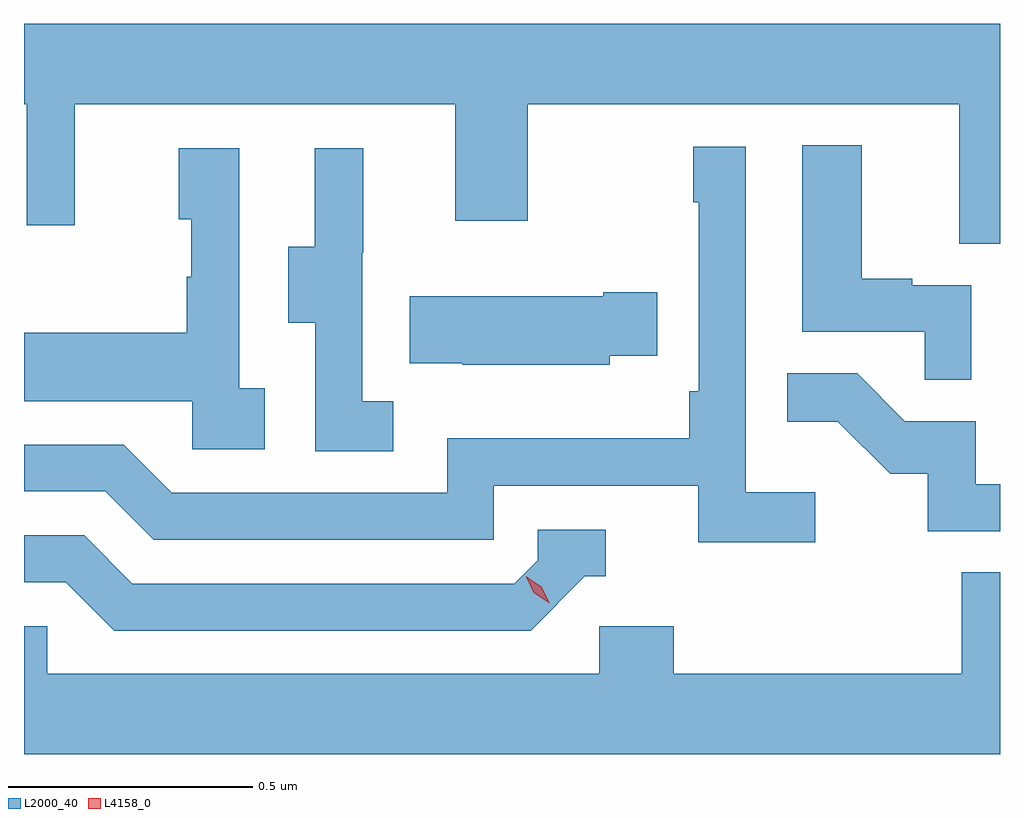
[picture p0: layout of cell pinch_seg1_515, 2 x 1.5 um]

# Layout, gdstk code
import gdstk
lib = gdstk.Library(unit=1e-6, precision=1e-09)
def P(c, l, *ps):  # polygons
    for p in ps: c.add(gdstk.Polygon(p, *l))
L2000_40 = (2000, 40)
L4158_0 = (4158, 0)

pinch_seg1_515 = lib.new_cell('pinch_seg1_515')
P(pinch_seg1_515, L2000_40, [(1134.131,534.58),(1132.131,534.58),(1132.131,534.416),(1132.137,534.416),(1132.137,534.168),(1132.235,534.168),(1132.235,534.416),(1133.015,534.416),(1133.015,534.177),(1133.163,534.177),(1133.163,534.416),(1134.047,534.416),(1134.047,534.13),(1134.131,534.13)],
  [(1134.072,534.045),(1133.951,534.045),(1133.951,534.058),(1133.848,534.058),(1133.848,534.331),(1133.726,534.331),(1133.726,533.949),(1133.977,533.949),(1133.977,533.851),(1134.072,533.851)],
  [(1133.752,533.62),(1133.61,533.62),(1133.61,534.328),(1133.502,534.328),(1133.502,534.215),(1133.514,534.215),(1133.514,533.827),(1133.494,533.827),(1133.494,533.731),(1132.998,533.731),(1132.998,533.619),(1132.434,533.619),(1132.335,533.718),(1132.131,533.718),(1132.131,533.622),(1132.298,533.622),(1132.397,533.523),(1133.094,533.523),(1133.094,533.634),(1133.513,533.634),(1133.513,533.518),(1133.752,533.518)],
  [(1132.888,533.807),(1132.824,533.807),(1132.824,534.111),(1132.826,534.111),(1132.826,534.325),(1132.727,534.325),(1132.727,534.123),(1132.673,534.123),(1132.673,533.968),(1132.728,533.968),(1132.728,533.704),(1132.888,533.704)],
  [(1132.624,533.834),(1132.572,533.834),(1132.572,534.325),(1132.448,534.325),(1132.448,534.18),(1132.474,534.18),(1132.474,534.062),(1132.464,534.062),(1132.464,533.947),(1132.131,533.947),(1132.131,533.807),(1132.476,533.807),(1132.476,533.709),(1132.624,533.709)],
  [(1133.331,533.9),(1133.429,533.9),(1133.429,534.03),(1133.318,534.03),(1133.318,534.022),(1132.921,534.022),(1132.921,533.885),(1133.029,533.885),(1133.029,533.882),(1133.331,533.882)],
  [(1134.131,533.637),(1134.081,533.637),(1134.081,533.766),(1133.936,533.766),(1133.838,533.864),(1133.695,533.864),(1133.695,533.765),(1133.799,533.765),(1133.906,533.658),(1133.983,533.658),(1133.983,533.541),(1134.131,533.541)],
  [(1133.28,533.448),(1133.323,533.448),(1133.323,533.544),(1133.184,533.544),(1133.184,533.481),(1133.136,533.433),(1132.353,533.433),(1132.254,533.532),(1132.131,533.532),(1132.131,533.436),(1132.217,533.436),(1132.316,533.337),(1133.169,533.337)],
  [(1134.131,533.456),(1134.053,533.456),(1134.053,533.248),(1133.462,533.248),(1133.462,533.346),(1133.31,533.346),(1133.31,533.248),(1132.179,533.248),(1132.179,533.346),(1132.131,533.346),(1132.131,533.084),(1134.131,533.084)])
P(pinch_seg1_515, L4158_0, [(1133.206,533.394),(1133.176,533.414),(1133.16,533.447),(1133.16,533.447),(1133.161,533.447),(1133.191,533.427),(1133.207,533.395),(1133.207,533.394)])

lib.write_gds('pinch_seg1_515.gds')
